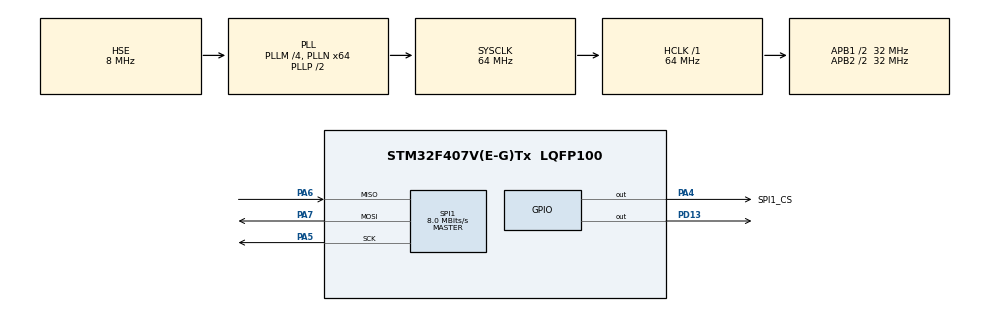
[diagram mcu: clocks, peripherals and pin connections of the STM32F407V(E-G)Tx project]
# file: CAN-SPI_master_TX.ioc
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Mcu.Family=STM32F4
Mcu.Name=STM32F407V(E-G)Tx
Mcu.Package=LQFP100
NVIC.PriorityGroup=NVIC_PRIORITYGROUP_0
PA13.Mode=Serial_Wire
PA13.Signal=SYS_JTMS-SWDIO
PA14.Mode=Serial_Wire
PA14.Signal=SYS_JTCK-SWCLK
PA4.GPIO_Label=SPI1_CS
PA4.PinState=GPIO_PIN_SET
PA4.Signal=GPIO_Output
PA5.Mode=Full_Duplex_Master
PA5.Signal=SPI1_SCK
PA6.Mode=Full_Duplex_Master
PA6.Signal=SPI1_MISO
PA7.Mode=Full_Duplex_Master
PA7.Signal=SPI1_MOSI
PD13.Signal=GPIO_Output
PH0-OSC_IN.Mode=HSE-External-Oscillator
PH0-OSC_IN.Signal=RCC_OSC_IN
PH1-OSC_OUT.Mode=HSE-External-Oscillator
PH1-OSC_OUT.Signal=RCC_OSC_OUT
ProjectManager.HeapSize=0x200
ProjectManager.StackSize=0x400
ProjectManager.TargetToolchain=STM32CubeIDE
RCC.48MHZClocksFreq_Value=18285714.285714287
RCC.AHBFreq_Value=64000000
RCC.APB1CLKDivider=RCC_HCLK_DIV2
RCC.APB1Freq_Value=32000000
RCC.APB1TimFreq_Value=64000000
RCC.APB2CLKDivider=RCC_HCLK_DIV2
RCC.APB2Freq_Value=32000000
RCC.APB2TimFreq_Value=64000000
RCC.CortexFreq_Value=64000000
RCC.EnbaleCSS=true
RCC.HCLKFreq_Value=64000000
RCC.HSE_VALUE=8000000
RCC.HSI_VALUE=16000000
RCC.LSE_VALUE=32768
RCC.PLLM=4
RCC.PLLN=64
RCC.PLLQ=7
RCC.PLLSourceVirtual=RCC_PLLSOURCE_HSE
RCC.SYSCLKFreq_VALUE=64000000
RCC.SYSCLKSource=RCC_SYSCLKSOURCE_PLLCLK
RCC.VCOOutputFreq_Value=128000000
SPI1.BaudRatePrescaler=SPI_BAUDRATEPRESCALER_4
SPI1.CalculateBaudRate=8.0 MBits/s
SPI1.Direction=SPI_DIRECTION_2LINES
SPI1.Mode=SPI_MODE_MASTER
SPI1.VirtualType=VM_MASTER
board=STM32F407G-DISC1

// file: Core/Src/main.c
/* USER CODE BEGIN Header */
/**
  ******************************************************************************
  * @file           : main.c
  * @brief          : Main program body
  ******************************************************************************
  * @attention
  *
  * Copyright (c) 2025 STMicroelectronics.
  * All rights reserved.
  *
  * This software is licensed under terms that can be found in the LICENSE file
  * in the root directory of this software component.
  * If no LICENSE file comes with this software, it is provided AS-IS.
  *
  ******************************************************************************
  */
/* USER CODE END Header */
#include "main.h"

/* USER CODE BEGIN Includes */
#include "CANSPI.h"
/* USER CODE END Includes */

SPI_HandleTypeDef hspi1;

void SystemClock_Config(void);
static void MX_GPIO_Init(void);
static void MX_SPI1_Init(void);

int main(void)
{

  /* MCU Configuration--------------------------------------------------------*/

  /* Reset of all peripherals, Initializes the Flash interface and the Systick. */
  HAL_Init();

  /* Configure the system clock */
  SystemClock_Config();

  /* Initialize all configured peripherals */
  MX_GPIO_Init();
  MX_SPI1_Init();
  /* USER CODE BEGIN 2 */
  CANSPI_Initialize();

  char sstr[8];
  uCAN_MSG txMessage;
  uCAN_MSG rxMessage;

  HAL_Delay(1000);
  /* USER CODE END 2 */

  /* Infinite loop */
  while (1)
  {

    /* USER CODE BEGIN 3 */
	  /*
	  if(CANSPI_Receive(&rxMessage))
	      {
	          sstr[0] = rxMessage.frame.data0;
	          sstr[1] = rxMessage.frame.data1;
	          sstr[2] = rxMessage.frame.data2;
	          sstr[3] = rxMessage.frame.data3;
	          sstr[4] = rxMessage.frame.data4;
	          sstr[5] = rxMessage.frame.data5;
	          sstr[6] = rxMessage.frame.data6;
	          sstr[7] = rxMessage.frame.data7;

	      } */

	  txMessage.frame.idType = dSTANDARD_CAN_MSG_ID_2_0B;
	  txMessage.frame.id = 0xFF; // ID can be between Hex1 and Hex7FF (1-2047 decimal)
	  txMessage.frame.dlc = 8; // Data length
	  txMessage.frame.data0 = 'S';
	  txMessage.frame.data1 = 'T';
	  txMessage.frame.data2 = 'M';
	  txMessage.frame.data3 = '3';
	  txMessage.frame.data4 = '2';
	  txMessage.frame.data5 = 'F';
	  txMessage.frame.data6 = '4';
	  txMessage.frame.data7 = '0';
	  CANSPI_Transmit(&txMessage);

	  HAL_GPIO_TogglePin(GPIOD, GPIO_PIN_13);
	  HAL_Delay(100);
  }
  /* USER CODE END 3 */
}

void SystemClock_Config(void)
{
  RCC_OscInitTypeDef RCC_OscInitStruct = {0};
  RCC_ClkInitTypeDef RCC_ClkInitStruct = {0};

  /** Configure the main internal regulator output voltage
  */
  __HAL_RCC_PWR_CLK_ENABLE();
  __HAL_PWR_VOLTAGESCALING_CONFIG(PWR_REGULATOR_VOLTAGE_SCALE1);

  /** Initializes the RCC Oscillators according to the specified parameters
  * in the RCC_OscInitTypeDef structure.
  */
  RCC_OscInitStruct.OscillatorType = RCC_OSCILLATORTYPE_HSE;
  RCC_OscInitStruct.HSEState = RCC_HSE_ON;
  RCC_OscInitStruct.PLL.PLLState = RCC_PLL_ON;
  RCC_OscInitStruct.PLL.PLLSource = RCC_PLLSOURCE_HSE;
  RCC_OscInitStruct.PLL.PLLM = 4;
  RCC_OscInitStruct.PLL.PLLN = 64;
  RCC_OscInitStruct.PLL.PLLP = RCC_PLLP_DIV2;
  RCC_OscInitStruct.PLL.PLLQ = 7;
  if (HAL_RCC_OscConfig(&RCC_OscInitStruct) != HAL_OK)
  {
    Error_Handler();
  }

  /** Initializes the CPU, AHB and APB buses clocks
  */
  RCC_ClkInitStruct.ClockType = RCC_CLOCKTYPE_HCLK|RCC_CLOCKTYPE_SYSCLK
                              |RCC_CLOCKTYPE_PCLK1|RCC_CLOCKTYPE_PCLK2;
  RCC_ClkInitStruct.SYSCLKSource = RCC_SYSCLKSOURCE_PLLCLK;
  RCC_ClkInitStruct.AHBCLKDivider = RCC_SYSCLK_DIV1;
  RCC_ClkInitStruct.APB1CLKDivider = RCC_HCLK_DIV2;
  RCC_ClkInitStruct.APB2CLKDivider = RCC_HCLK_DIV2;

  if (HAL_RCC_ClockConfig(&RCC_ClkInitStruct, FLASH_LATENCY_2) != HAL_OK)
  {
    Error_Handler();
  }

  /** Enables the Clock Security System
  */
  HAL_RCC_EnableCSS();
}

static void MX_SPI1_Init(void)
{

  /* SPI1 parameter configuration*/
  hspi1.Instance = SPI1;
  hspi1.Init.Mode = SPI_MODE_MASTER;
  hspi1.Init.Direction = SPI_DIRECTION_2LINES;
  hspi1.Init.DataSize = SPI_DATASIZE_8BIT;
  hspi1.Init.CLKPolarity = SPI_POLARITY_LOW;
  hspi1.Init.CLKPhase = SPI_PHASE_1EDGE;
  hspi1.Init.NSS = SPI_NSS_SOFT;
  hspi1.Init.BaudRatePrescaler = SPI_BAUDRATEPRESCALER_4;
  hspi1.Init.FirstBit = SPI_FIRSTBIT_MSB;
  hspi1.Init.TIMode = SPI_TIMODE_DISABLE;
  hspi1.Init.CRCCalculation = SPI_CRCCALCULATION_DISABLE;
  hspi1.Init.CRCPolynomial = 10;
  if (HAL_SPI_Init(&hspi1) != HAL_OK)
  {
    Error_Handler();
  }

}

static void MX_GPIO_Init(void)
{
  GPIO_InitTypeDef GPIO_InitStruct = {0};

  /* GPIO Ports Clock Enable */
  __HAL_RCC_GPIOH_CLK_ENABLE();
  __HAL_RCC_GPIOA_CLK_ENABLE();
  __HAL_RCC_GPIOD_CLK_ENABLE();

  /*Configure GPIO pin Output Level */
  HAL_GPIO_WritePin(SPI1_CS_GPIO_Port, SPI1_CS_Pin, GPIO_PIN_SET);

  /*Configure GPIO pin Output Level */
  HAL_GPIO_WritePin(GPIOD, GPIO_PIN_13, GPIO_PIN_RESET);

  /*Configure GPIO pin : SPI1_CS_Pin */
  GPIO_InitStruct.Pin = SPI1_CS_Pin;
  GPIO_InitStruct.Mode = GPIO_MODE_OUTPUT_PP;
  GPIO_InitStruct.Pull = GPIO_NOPULL;
  GPIO_InitStruct.Speed = GPIO_SPEED_FREQ_LOW;
  HAL_GPIO_Init(SPI1_CS_GPIO_Port, &GPIO_InitStruct);

  /*Configure GPIO pin : PD13 */
  GPIO_InitStruct.Pin = GPIO_PIN_13;
  GPIO_InitStruct.Mode = GPIO_MODE_OUTPUT_PP;
  GPIO_InitStruct.Pull = GPIO_NOPULL;
  GPIO_InitStruct.Speed = GPIO_SPEED_FREQ_LOW;
  HAL_GPIO_Init(GPIOD, &GPIO_InitStruct);

}

void Error_Handler(void)
{
  __disable_irq();
  while (1)
  {
  }
}
